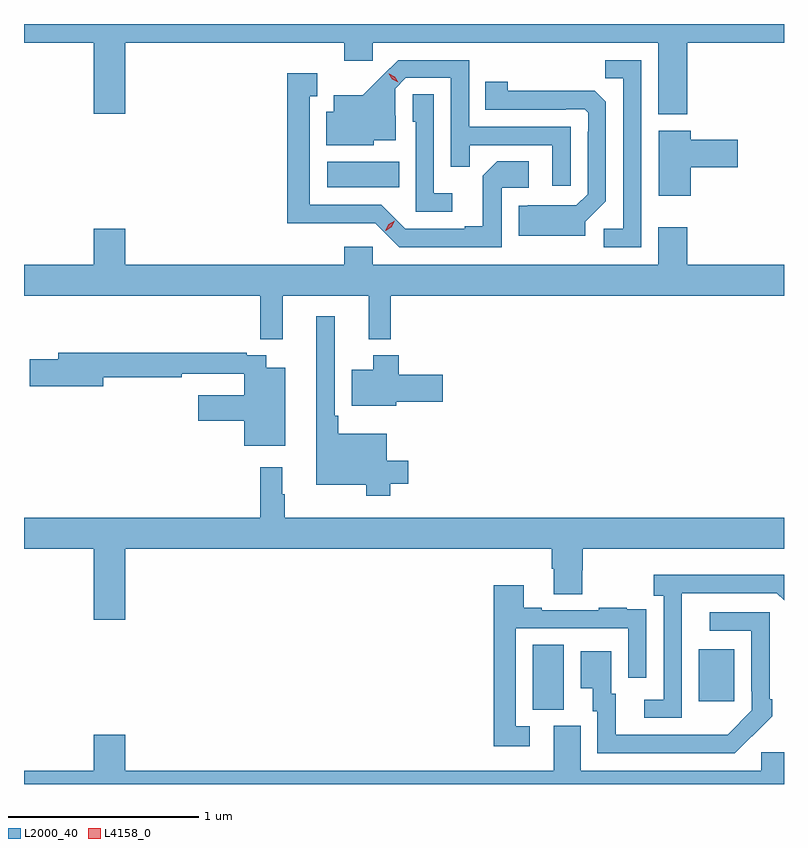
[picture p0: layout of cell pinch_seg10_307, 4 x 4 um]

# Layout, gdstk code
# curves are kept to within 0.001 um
import gdstk
lib = gdstk.Library(unit=1e-6, precision=1e-09)
def R(c, l, rs):  # rectangles x0, y0, x1, y1
    for r in rs: c.add(gdstk.rectangle(r[:2], r[2:], *l))
def P(c, l, *ps):  # polygons
    for p in ps: c.add(gdstk.Polygon(p, *l))
L2000_40 = (2000, 40)
L4158_0 = (4158, 0)

pinch_seg10_307 = lib.new_cell('pinch_seg10_307')
R(pinch_seg10_307, L2000_40, [(419.066,1278.157,419.23,1278.5), (419.939,1278.201,420.127,1278.475), (417.984,1280.906,418.364,1281.04)])
P(pinch_seg10_307, L2000_40, [(419.879,1281.668),(420.388,1281.668),(420.388,1281.766),(416.388,1281.766),(416.388,1281.668),(416.756,1281.668),(416.756,1281.294),(416.92,1281.294),(416.92,1281.668),(418.073,1281.668),(418.073,1281.573),(418.224,1281.573),(418.224,1281.668),(419.726,1281.668),(419.726,1281.29),(419.879,1281.29)],
  [(419.637,1281.576),(419.446,1281.576),(419.446,1281.481),(419.541,1281.481),(419.541,1280.688),(419.439,1280.688),(419.439,1280.592),(419.637,1280.592)],
  [(419.265,1281.225),(418.731,1281.225),(418.731,1281.576),(418.358,1281.576),(418.171,1281.391),(418.019,1281.391),(418.019,1281.304),(417.98,1281.304),(417.98,1281.128),(418.23,1281.128),(418.23,1281.155),(418.345,1281.155),(418.345,1281.284),(418.341,1281.284),(418.341,1281.426),(418.398,1281.483),(418.635,1281.483),(418.635,1281.016),(418.733,1281.016),(418.733,1281.129),(419.169,1281.129),(419.169,1280.916),(419.265,1280.916)],
  [(418.902,1280.904),(419.044,1280.904),(419.044,1281.044),(418.879,1281.044),(418.803,1280.968),(418.803,1280.701),(418.709,1280.701),(418.709,1280.688),(418.395,1280.688),(418.269,1280.814),(417.892,1280.814),(417.892,1281.387),(417.931,1281.387),(417.931,1281.508),(417.774,1281.508),(417.774,1280.717),(418.236,1280.718),(418.362,1280.592),(418.902,1280.592)],
  [(419.341,1280.724),(419.451,1280.834),(419.451,1281.356),(419.392,1281.415),(418.935,1281.416),(418.935,1281.463),(418.816,1281.463),(418.816,1281.315),(419.24,1281.315),(419.24,1281.318),(419.34,1281.318),(419.358,1281.3),(419.358,1281.2),(419.355,1281.2),(419.355,1280.871),(419.295,1280.811),(419.038,1280.812),(419.035,1280.809),(418.991,1280.809),(418.991,1280.651),(419.341,1280.651)],
  [(418.642,1280.875),(418.545,1280.875),(418.545,1281.395),(418.434,1281.395),(418.434,1281.252),(418.449,1281.252),(418.449,1280.778),(418.642,1280.778)],
  [(419.896,1281.011),(420.145,1281.011),(420.145,1281.158),(419.896,1281.158),(419.896,1281.205),(419.729,1281.205),(419.729,1280.862),(419.896,1280.862)],
  [(417.749,1280.336),(418.202,1280.336),(418.202,1280.108),(418.319,1280.108),(418.319,1280.336),(420.388,1280.336),(420.388,1280.5),(419.879,1280.5),(419.879,1280.695),(419.726,1280.695),(419.726,1280.5),(418.224,1280.5),(418.224,1280.593),(418.073,1280.593),(418.073,1280.5),(416.92,1280.5),(416.92,1280.689),(416.756,1280.689),(416.756,1280.5),(416.388,1280.5),(416.388,1280.336),(417.631,1280.336),(417.631,1280.107),(417.749,1280.107)],
  [(418.316,1279.346),(418.411,1279.346),(418.411,1279.468),(418.297,1279.468),(418.297,1279.609),(418.043,1279.609),(418.043,1279.705),(418.023,1279.705),(418.023,1280.227),(417.926,1280.227),(417.926,1279.34),(418.188,1279.34),(418.188,1279.283),(418.316,1279.283)],
  [(417.763,1279.957),(417.664,1279.957),(417.664,1280.022),(417.56,1280.022),(417.56,1280.035),(416.567,1280.035),(416.567,1280.001),(416.418,1280.001),(416.418,1279.859),(416.806,1279.859),(416.806,1279.906),(417.218,1279.906),(417.218,1279.926),(417.548,1279.926),(417.548,1279.813),(417.306,1279.813),(417.306,1279.679),(417.548,1279.679),(417.548,1279.547),(417.763,1279.547)],
  [(418.348,1279.778),(418.591,1279.778),(418.591,1279.92),(418.361,1279.92),(418.361,1280.023),(418.226,1280.023),(418.226,1279.945),(418.112,1279.945),(418.112,1279.757),(418.348,1279.757)],
  [(416.92,1279.004),(419.165,1279.004),(419.165,1278.898),(419.177,1278.898),(419.177,1278.766),(419.325,1278.766),(419.325,1278.891),(419.33,1278.891),(419.33,1279.004),(420.388,1279.004),(420.388,1279.168),(417.76,1279.168),(417.76,1279.292),(417.748,1279.292),(417.748,1279.432),(417.631,1279.432),(417.631,1279.168),(416.388,1279.168),(416.388,1279.004),(416.756,1279.004),(416.756,1278.63),(416.92,1278.63)],
  [(419.85,1278.571),(419.851,1278.771),(420.351,1278.771),(420.388,1278.734),(420.388,1278.868),(419.703,1278.868),(419.703,1278.758),(419.754,1278.758),(419.754,1278.21),(419.652,1278.21),(419.652,1278.114),(419.85,1278.114)],
  [(419.05,1278.069),(418.977,1278.069),(418.977,1278.585),(419.568,1278.585),(419.568,1278.324),(419.664,1278.324),(419.664,1278.578),(419.663,1278.578),(419.663,1278.687),(419.561,1278.687),(419.561,1278.694),(419.413,1278.694),(419.413,1278.681),(419.113,1278.681),(419.113,1278.694),(419.017,1278.694),(419.017,1278.811),(418.861,1278.811),(418.861,1277.964),(419.05,1277.964)],
  [(420.221,1278.019),(420.222,1278.018),(420.327,1278.123),(420.327,1278.211),(420.312,1278.211),(420.312,1278.669),(419.997,1278.669),(419.997,1278.573),(420.216,1278.573),(420.216,1278.253),(420.219,1278.253),(420.219,1278.153),(420.091,1278.025),(419.503,1278.024),(419.503,1278.24),(419.479,1278.24),(419.479,1278.466),(419.318,1278.466),(419.318,1278.269),(419.381,1278.269),(419.381,1278.15),(419.406,1278.15),(419.406,1277.928),(420.13,1277.928)],
  [(420.388,1277.934),(420.267,1277.934),(420.267,1277.836),(419.317,1277.836),(419.317,1278.072),(419.177,1278.072),(419.177,1277.836),(416.92,1277.836),(416.92,1278.025),(416.756,1278.025),(416.756,1277.836),(416.388,1277.836),(416.388,1277.766),(420.388,1277.766)])
P(pinch_seg10_307, L4158_0, [(418.357,1281.459),(418.326,1281.474),(418.309,1281.504),(418.309,1281.504),(418.31,1281.504),(418.34,1281.489),(418.357,1281.459),(418.357,1281.459)],
  [(418.29,1280.678),(418.29,1280.679),(418.308,1280.711),(418.339,1280.73),(418.34,1280.73),(418.34,1280.73),(418.322,1280.697),(418.291,1280.678)])

lib.write_gds('pinch_seg10_307.gds')
